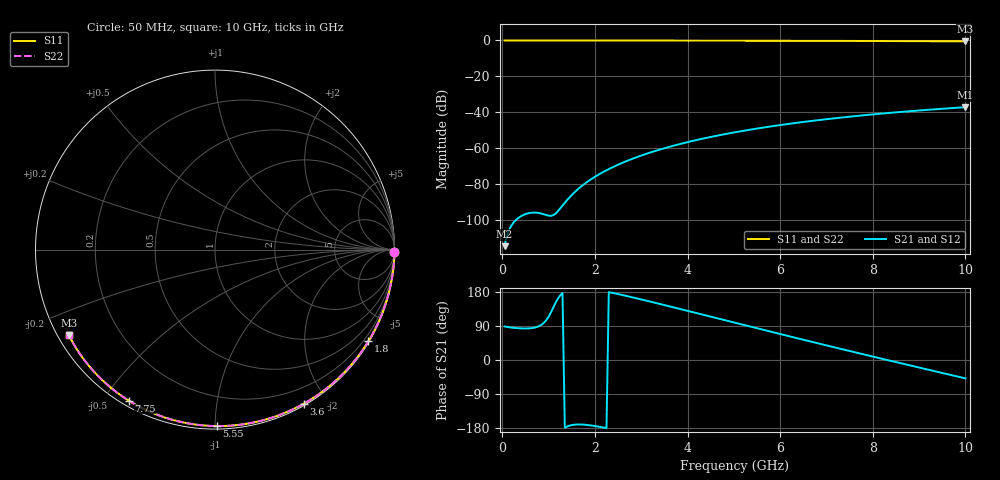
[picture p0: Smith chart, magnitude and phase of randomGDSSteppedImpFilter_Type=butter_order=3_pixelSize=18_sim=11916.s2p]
! freq	dB(S11)	phase(S11)	dB(S12)	phase(S12)
!  dB(S21)	phase(S21)	dB(S22)	phase(S22)
!S-par simulation data
#  GHz  S  DB  R 50
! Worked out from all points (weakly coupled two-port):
!   200 points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, 50 MHz to 10 GHz, reference 50 ohm
!   highest |S21| = -37.12 dB at 10 GHz (marker M1); lowest = -114.4 dB at 50 MHz (marker M2)
!   lowest |S11| = -0.5 dB at 10 GHz (marker M3), VSWR 34.71, Z = 1.55 - j13.6 ohm
!   |S11| at or under -10 dB: nowhere
!   |S22| runs from -0.5 to 0.0 dB; largest |S21 - S12| = 0
!   S11 on the Smith chart (normalised r, x): 50 MHz: open; 1.8 GHz: 0.03, -3.63; 3.6 GHz: 0.02, -1.73; 5.55 GHz: 0.02, -1.01; 7.75 GHz: 0.02, -0.58; 10 GHz: 0.03, -0.27
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0.05  -0.00 -0.9  -114.39 88.5  -114.39 88.5  -0.00 -0.9
0.45  -0.01 -7.8  -97.09 83.2  -97.09 83.2  -0.01 -7.8
0.9  -0.02 -15.6  -96.71 98.4  -96.71 98.4  -0.02 -15.6
1.3  -0.03 -22.4  -91.83 176.7  -91.83 176.7  -0.03 -22.4
1.75  -0.04 -30.0  -80.24 -170.6  -80.24 -170.6  -0.04 -30.0
1.8  -0.04 -30.8  -79.27 -171.0  -79.27 -171.0  -0.04 -30.8
1.95  -0.04 -33.3  -76.62 -173.2  -76.62 -173.2  -0.04 -33.3
2.1  -0.05 -35.8  -74.28 -176.2  -74.28 -176.2  -0.05 -35.8
2.3  -0.05 -39.1  -71.52 179.2  -71.52 179.2  -0.05 -39.1
2.5  -0.05 -42.4  -69.09 174.0  -69.09 174.0  -0.05 -42.4
2.9  -0.06 -48.9  -64.93 162.8  -64.93 162.8  -0.06 -48.9
3.4  -0.08 -56.9  -60.68 148.0  -60.68 148.0  -0.07 -56.9
3.6  -0.08 -60.0  -59.20 141.9  -59.20 141.9  -0.08 -60.0
4.3  -0.10 -70.9  -54.76 120.5  -54.76 120.5  -0.10 -70.8
5.05  -0.13 -82.1  -50.94 97.5  -50.94 97.5  -0.13 -82.1
5.55  -0.15 -89.3  -48.78 82.2  -48.78 82.2  -0.15 -89.3
6.1  -0.17 -97.2  -46.69 65.5  -46.69 65.5  -0.17 -97.2
6.7  -0.20 -105.5  -44.69 47.5  -44.69 47.5  -0.20 -105.5
7.75  -0.28 -119.8  -41.74 16.4  -41.74 16.4  -0.28 -119.8
8.35  -0.33 -127.7  -40.31 -1.1  -40.31 -1.1  -0.33 -127.7
9.2  -0.41 -139.0  -38.54 -25.6  -38.54 -25.6  -0.41 -139.0
10  -0.50 -149.6  -37.12 -48.5  -37.12 -48.5  -0.50 -149.6
